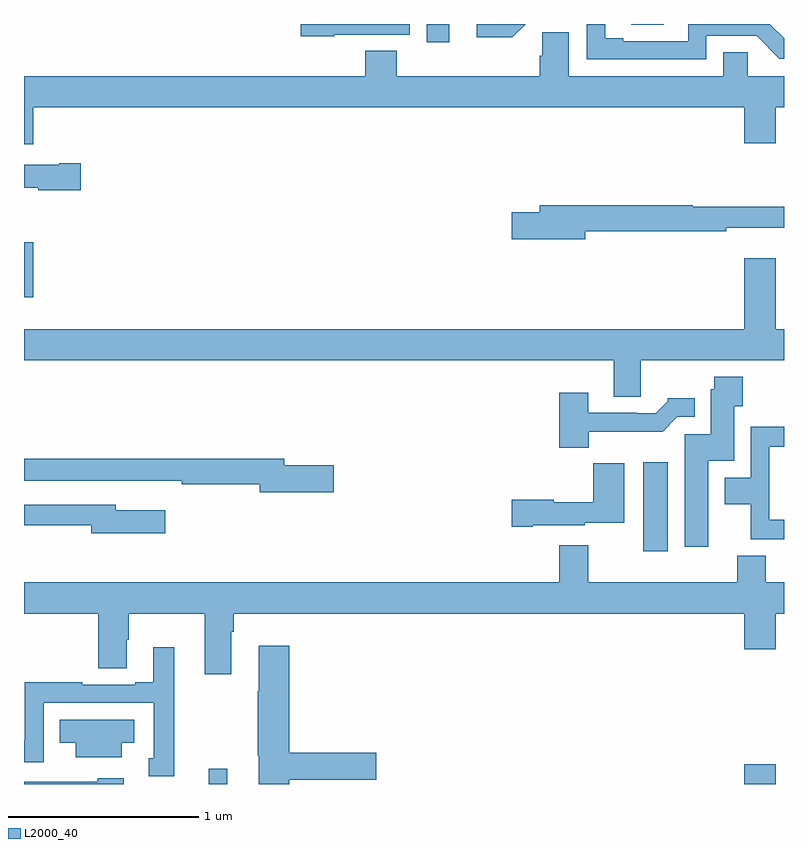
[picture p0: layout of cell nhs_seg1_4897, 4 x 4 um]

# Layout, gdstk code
import gdstk
lib = gdstk.Library(unit=1e-6, precision=1e-09)
def R(c, l, rs):  # rectangles x0, y0, x1, y1
    for r in rs: c.add(gdstk.rectangle(r[:2], r[2:], *l))
def P(c, l, *ps):  # polygons
    for p in ps: c.add(gdstk.Polygon(p, *l))
L2000_40 = (2000, 40)

nhs_seg1_4897 = lib.new_cell('nhs_seg1_4897')
R(nhs_seg1_4897, L2000_40, [(377.973,520.199,378.07,520.279), (380.792,520.199,380.956,520.303), (380.258,521.424,380.389,521.893), (377,522.762,377.048,523.051), (379.119,524.103,379.237,524.199), (380.196,524.194,380.366,524.199)])
P(nhs_seg1_4897, L2000_40, [(380.592,524.136),(380.856,524.136),(380.976,524.016),(381,524.016),(381,524.124),(380.925,524.199),(380.496,524.199),(380.496,524.109),(380.155,524.109),(380.155,524.124),(380.059,524.124),(380.059,524.199),(379.962,524.199),(379.962,524.013),(380.592,524.013)],
  [(378.633,524.142),(379.029,524.142),(379.029,524.199),(378.457,524.199),(378.457,524.135),(378.633,524.135)],
  [(379.641,524.199),(379.383,524.199),(379.383,524.129),(379.57,524.129)],
  [(377.048,523.76),(380.792,523.76),(380.792,523.572),(380.956,523.572),(380.956,523.76),(381,523.76),(381,523.924),(380.808,523.924),(380.808,524.051),(380.681,524.051),(380.681,523.924),(379.867,523.924),(379.867,524.156),(379.728,524.156),(379.728,524.033),(379.715,524.033),(379.715,523.924),(378.962,523.924),(378.962,524.057),(378.797,524.057),(378.797,523.924),(377,523.924),(377,523.566),(377.048,523.566)],
  [(377.299,523.467),(377.186,523.467),(377.186,523.459),(377,523.459),(377,523.337),(377.076,523.337),(377.076,523.325),(377.299,523.325)],
  [(379.954,523.108),(380.696,523.108),(380.696,523.127),(381,523.127),(381,523.237),(380.519,523.237),(380.519,523.244),(379.715,523.244),(379.715,523.208),(379.566,523.208),(379.566,523.066),(379.954,523.066)],
  [(380.245,522.428),(381,522.428),(381,522.592),(380.956,522.592),(380.956,522.967),(380.792,522.967),(380.792,522.592),(377,522.592),(377,522.428),(380.105,522.428),(380.105,522.238),(380.245,522.238)],
  [(380.602,521.9),(380.737,521.9),(380.737,522.187),(380.784,522.187),(380.784,522.343),(380.632,522.343),(380.632,522.276),(380.615,522.276),(380.615,522.039),(380.477,522.039),(380.477,521.448),(380.602,521.448)],
  [(379.972,522.054),(380.361,522.054),(380.439,522.132),(380.53,522.132),(380.53,522.229),(380.388,522.229),(380.388,522.214),(380.324,522.15),(380.225,522.15),(380.225,522.153),(379.969,522.153),(379.969,522.259),(379.817,522.259),(379.817,521.969),(379.972,521.969)],
  [(381,521.59),(380.922,521.59),(380.922,521.973),(381,521.973),(381,522.079),(380.826,522.079),(380.826,521.812),(380.687,521.812),(380.687,521.672),(380.824,521.672),(380.824,521.486),(381,521.486)],
  [(378.631,521.876),(378.37,521.876),(378.37,521.912),(377,521.912),(377,521.796),(377.578,521.796),(377.578,521.795),(377.83,521.795),(377.83,521.776),(378.242,521.776),(378.242,521.734),(378.631,521.734)],
  [(379.678,521.561),(379.95,521.561),(379.95,521.573),(380.158,521.573),(380.158,521.887),(379.996,521.887),(379.996,521.683),(379.788,521.683),(379.788,521.696),(379.566,521.696),(379.566,521.554),(379.678,521.554)],
  [(377.743,521.641),(377.482,521.641),(377.482,521.67),(377,521.67),(377,521.562),(377.354,521.562),(377.354,521.519),(377.743,521.519)],
  [(378.091,521),(378.104,521),(378.104,521.096),(380.792,521.096),(380.792,520.908),(380.956,520.908),(380.956,521.096),(381,521.096),(381,521.26),(380.905,521.26),(380.905,521.401),(380.753,521.401),(380.753,521.26),(379.969,521.26),(379.969,521.455),(379.817,521.455),(379.817,521.26),(377,521.26),(377,521.096),(377.39,521.096),(377.39,520.807),(377.542,520.807),(377.542,520.958),(377.55,520.958),(377.55,521.096),(377.951,521.096),(377.951,520.776),(378.091,520.776)],
  [(378.395,520.222),(378.853,520.222),(378.853,520.364),(378.395,520.364),(378.395,520.927),(378.236,520.927),(378.236,520.688),(378.229,520.688),(378.229,520.347),(378.236,520.347),(378.236,520.199),(378.395,520.199)],
  [(377.791,520.918),(377.681,520.918),(377.681,520.735),(377.585,520.735),(377.585,520.722),(377.306,520.722),(377.306,520.735),(377.005,520.735),(377.005,520.43),(377,520.43),(377,520.314),(377.103,520.314),(377.103,520.626),(377.682,520.626),(377.682,520.335),(377.657,520.335),(377.657,520.241),(377.791,520.241)],
  [(377.515,520.415),(377.581,520.415),(377.581,520.537),(377.188,520.537),(377.188,520.415),(377.273,520.415),(377.273,520.34),(377.515,520.34)],
  [(377.524,520.228),(377.388,520.228),(377.388,520.212),(377,520.212),(377,520.199),(377.524,520.199)])

lib.write_gds('nhs_seg1_4897.gds')
